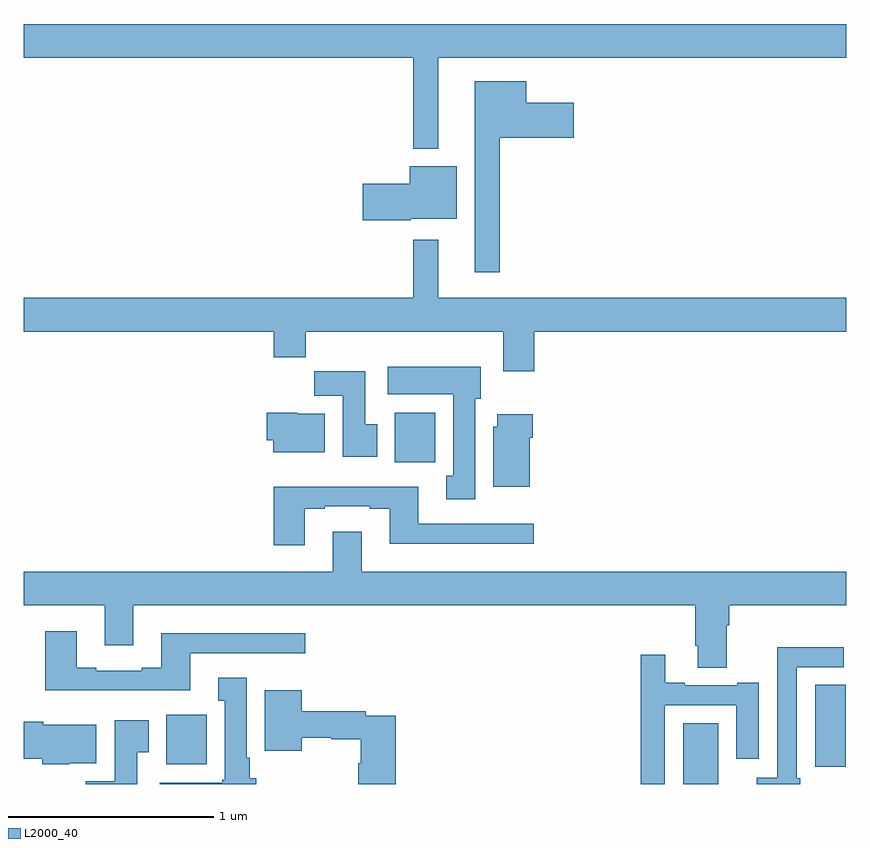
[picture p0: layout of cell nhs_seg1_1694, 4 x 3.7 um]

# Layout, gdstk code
import gdstk
lib = gdstk.Library(unit=1e-6, precision=1e-09)
def R(c, l, rs):  # rectangles x0, y0, x1, y1
    for r in rs: c.add(gdstk.rectangle(r[:2], r[2:], *l))
def P(c, l, *ps):  # polygons
    for p in ps: c.add(gdstk.Polygon(p, *l))
L2000_40 = (2000, 40)

nhs_seg1_1694 = lib.new_cell('nhs_seg1_1694')
R(nhs_seg1_1694, L2000_40, [(206.207,548.199,206.377,548.494), (206.849,548.283,206.998,548.681), (203.693,548.294,203.89,548.536), (204.803,549.764,205,550.006)])
P(nhs_seg1_1694, L2000_40, [(205.015,551.732),(207,551.732),(207,551.896),(203,551.896),(203,551.732),(204.894,551.732),(204.894,551.288),(205.015,551.288)],
  [(205.315,551.342),(205.675,551.342),(205.675,551.512),(205.444,551.512),(205.444,551.617),(205.193,551.617),(205.193,550.689),(205.315,550.689)],
  [(204.882,550.949),(205.105,550.949),(205.105,551.203),(204.878,551.203),(204.878,551.12),(204.648,551.12),(204.648,550.942),(204.882,550.942)],
  [(205.484,550.4),(207,550.4),(207,550.564),(205.015,550.564),(205.015,550.846),(204.894,550.846),(204.894,550.564),(203,550.564),(203,550.4),(204.215,550.4),(204.215,550.276),(204.371,550.276),(204.371,550.4),(205.331,550.4),(205.331,550.206),(205.484,550.206)],
  [(205.195,550.074),(205.222,550.074),(205.222,550.228),(204.771,550.228),(204.771,550.094),(205.088,550.094),(205.088,549.698),(205.055,549.698),(205.055,549.585),(205.195,549.585)],
  [(204.718,549.948),(204.661,549.948),(204.661,550.207),(204.412,550.207),(204.412,550.088),(204.551,550.088),(204.551,549.792),(204.718,549.792)],
  [(204.463,550),(204.33,550),(204.33,550.006),(204.182,550.006),(204.182,549.87),(204.212,549.87),(204.212,549.812),(204.463,549.812)],
  [(205.462,549.884),(205.475,549.884),(205.475,549.997),(205.304,549.997),(205.304,549.936),(205.283,549.936),(205.283,549.644),(205.462,549.644)],
  [(204.367,549.537),(204.463,549.537),(204.463,549.549),(204.683,549.549),(204.683,549.537),(204.779,549.537),(204.779,549.368),(205.48,549.368),(205.48,549.465),(204.919,549.465),(204.919,549.646),(204.215,549.646),(204.215,549.36),(204.367,549.36)],
  [(206.419,548.972),(206.432,548.972),(206.432,549.068),(207,549.068),(207,549.232),(204.643,549.232),(204.643,549.427),(204.503,549.427),(204.503,549.232),(203,549.232),(203,549.068),(203.393,549.068),(203.393,548.874),(203.533,548.874),(203.533,549.068),(206.267,549.068),(206.267,548.872),(206.279,548.872),(206.279,548.764),(206.419,548.764)],
  [(203.809,548.835),(204.37,548.835),(204.37,548.932),(203.669,548.932),(203.669,548.764),(203.573,548.764),(203.573,548.751),(203.353,548.751),(203.353,548.764),(203.257,548.764),(203.257,548.941),(203.105,548.941),(203.105,548.654),(203.809,548.654)],
  [(206.776,548.226),(206.76,548.226),(206.76,548.766),(206.989,548.766),(206.989,548.864),(206.664,548.864),(206.664,548.23),(206.564,548.23),(206.564,548.199),(206.776,548.199)],
  [(206.118,548.583),(206.465,548.583),(206.465,548.322),(206.575,548.322),(206.575,548.692),(206.471,548.692),(206.471,548.679),(206.215,548.679),(206.215,548.692),(206.119,548.692),(206.119,548.827),(206.002,548.827),(206.002,548.199),(206.118,548.199)],
  [(204.13,548.226),(204.1,548.226),(204.1,548.326),(204.085,548.326),(204.085,548.716),(203.945,548.716),(203.945,548.603),(203.978,548.603),(203.978,548.22),(203.965,548.22),(203.965,548.206),(203.661,548.206),(203.661,548.199),(204.13,548.199)],
  [(204.809,548.532),(204.662,548.532),(204.662,548.552),(204.352,548.552),(204.352,548.656),(204.173,548.656),(204.173,548.36),(204.352,548.36),(204.352,548.424),(204.495,548.424),(204.495,548.416),(204.638,548.416),(204.638,548.301),(204.626,548.301),(204.626,548.199),(204.809,548.199)],
  [(203.551,548.353),(203.608,548.353),(203.608,548.509),(203.441,548.509),(203.441,548.212),(203.302,548.212),(203.302,548.199),(203.551,548.199)],
  [(203.22,548.3),(203.353,548.3),(203.353,548.488),(203.095,548.488),(203.095,548.501),(203,548.501),(203,548.323),(203.09,548.323),(203.09,548.294),(203.22,548.294)])

lib.write_gds('nhs_seg1_1694.gds')
